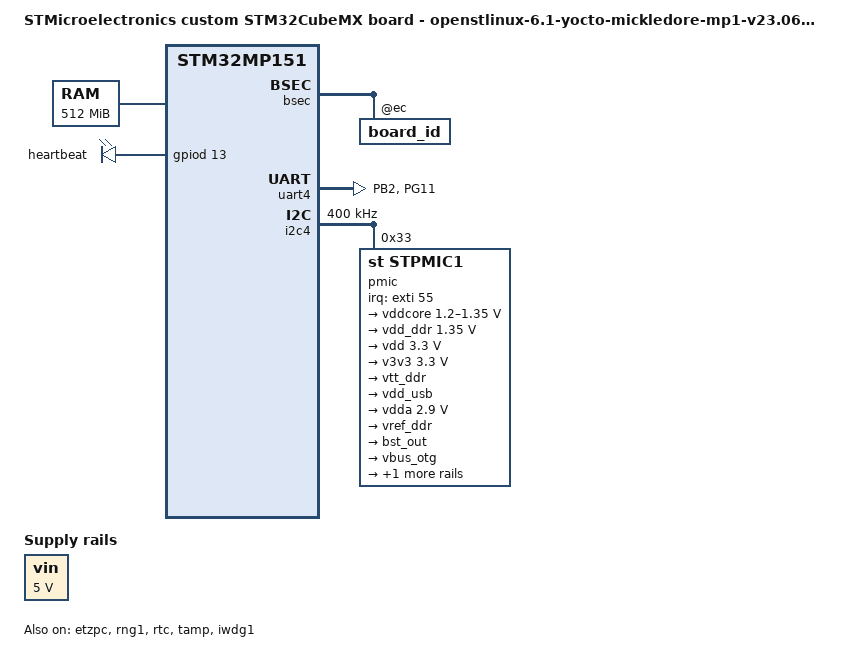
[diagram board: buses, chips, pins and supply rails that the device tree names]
// SPDX-License-Identifier: (GPL-2.0-or-later OR BSD-3-Clause)
/*
 * Copyright (C) 2023, STMicroelectronics - All Rights Reserved
 * Author: STM32CubeMX code generation for STMicroelectronics.
 */

/* For more information on Device Tree configuration, please refer to
 * https://wiki.st.com/stm32mpu/wiki/Category:Device_tree_configuration
 */

/dts-v1/;
#include <dt-bindings/pinctrl/stm32-pinfunc.h>
#include <dt-bindings/clock/stm32mp1-clksrc.h>
#include <dt-bindings/soc/stm32mp15-etzpc.h>

#include "stm32mp151.dtsi"
#include "stm32mp15xa.dtsi"
#include "stm32mp15xxac-pinctrl.dtsi"
#include <dt-bindings/mfd/st,stpmic1.h>
#include <dt-bindings/gpio/stm32mp_gpio.h>
#include <dt-bindings/power/stm32mp1-power.h>
#include <dt-bindings/interrupt-controller/arm-gic.h>

/ {
	model = "STMicroelectronics custom STM32CubeMX board - openstlinux-6.1-yocto-mickledore-mp1-v23.06.21";
	compatible = "st,stm32mp151a-tios-mx", "st,stm32mp151";

        aliases {
            serial0 = &uart4;
	};
	
	memory@c0000000 {
		device_type = "memory";
		reg = <0xc0000000 0x20000000>;
	};

	reserved-memory {
		#address-cells = <1>;
		#size-cells = <1>;
		ranges;
		
		mcuram: mcuram@30000000 {
			compatible = "shared-dma-pool";
			reg = <0x30000000 0x40000>;
			no-map;
		};
		mcuram2: mcuram2@10000000 {
			compatible = "shared-dma-pool";
			reg = <0x10000000 0x40000>;
			no-map;
		};
	};


	chosen {
		stdout-path = "serial0:115200n8";
	};

	clocks {
		clk_hsi: clk-hsi {
			clock-frequency = <64000000>;
		};
		clk_lse: clk-lse {
			clock-frequency = <32768>;
		};
		clk_hse: clk-hse {
			clock-frequency = <24000000>;
			st,digbypass;
		};
	};
	led {
		compatible = "gpio-leds";
		led-blue {
			label = "heartbeat";
			gpios = <&gpiod 13 GPIO_ACTIVE_HIGH>;
			linux,default-trigger = "heartbeat";
			default-state = "off";
		};
	};
	vin: vin {
		compatible = "regulator-fixed";
		regulator-name = "vin";
		regulator-min-microvolt = <5000000>;
		regulator-max-microvolt = <5000000>;
		regulator-always-on;
	};

}; /*root*/

/*Warning: the configuration of the secured GPIOs should be added in (addons) User Section*/
&pinctrl {
	uart4_pins_mx: uart4_mx-0 {
		pins1 {
			pinmux = <STM32_PINMUX('B', 2, AF8)>; /* UART4_RX */
			bias-disable;
		};
		pins2 {
			pinmux = <STM32_PINMUX('G', 11, AF6)>; /* UART4_TX */
			bias-disable;
			drive-push-pull;
			slew-rate = <0>;
		};
	};
};

&pinctrl_z {
	/* USER CODE BEGIN pinctrl_z */
	i2c4_pins_z_mx: i2c4_mx-0 {
		pins {
			pinmux = <STM32_PINMUX('Z', 4, AF6)>, /* I2C4_SCL */
					 <STM32_PINMUX('Z', 5, AF6)>; /* I2C4_SDA */
			bias-disable;
			drive-open-drain;
			slew-rate = <0>;
		};
	};
	i2c4_sleep_pins_z_mx: i2c4_sleep_mx-0 {
		pins {
			pinmux = <STM32_PINMUX('Z', 4, ANALOG)>, /* I2C4_SCL */
					 <STM32_PINMUX('Z', 5, ANALOG)>; /* I2C4_SDA */
		};
	};
	/* USER CODE END pinctrl_z */
};

&bsec{
	status = "okay";
	board_id: board_id@ec {
		reg = <0xec 0x4>;
		st,non-secure-otp;
	};
};

&etzpc{
	status = "okay";
	st,decprot = <

	/*DECPROT(STM32MP1_ETZPC_DMA1_ID, DECPROT_NS_RW, DECPROT_UNLOCK)
	DECPROT(STM32MP1_ETZPC_DMAMUX_ID, DECPROT_NS_RW, DECPROT_UNLOCK)*/
	DECPROT(STM32MP1_ETZPC_I2C4_ID, DECPROT_NS_RW, DECPROT_UNLOCK)
	DECPROT(STM32MP1_ETZPC_I2C6_ID, DECPROT_NS_RW, DECPROT_UNLOCK)
	DECPROT(STM32MP1_ETZPC_SDMMC3_ID, DECPROT_NS_RW, DECPROT_UNLOCK)
	DECPROT(STM32MP1_ETZPC_DLYBSD3_ID, DECPROT_NS_RW, DECPROT_UNLOCK) // SDMMC3 delay control
	DECPROT(STM32MP1_ETZPC_UART4_ID, DECPROT_NS_RW, DECPROT_UNLOCK)
	DECPROT(STM32MP1_ETZPC_OTG_ID, DECPROT_NS_RW, DECPROT_UNLOCK)
	DECPROT(STM32MP1_ETZPC_RNG1_ID, DECPROT_S_RW, DECPROT_UNLOCK) // Added rng 
	DECPROT(STM32MP1_ETZPC_HASH1_ID, DECPROT_NS_RW, DECPROT_UNLOCK)
	DECPROT(STM32MP1_ETZPC_DDRCTRL_ID, DECPROT_NS_R_S_W, DECPROT_LOCK)
	DECPROT(STM32MP1_ETZPC_DDRPHYC_ID, DECPROT_NS_R_S_W, DECPROT_LOCK)
	DECPROT(STM32MP1_ETZPC_STGENC_ID, DECPROT_S_RW, DECPROT_UNLOCK)
	DECPROT(STM32MP1_ETZPC_IWDG1_ID, DECPROT_S_RW, DECPROT_LOCK)
	>;
};
&pwr_regulators{
	system_suspend_supported_soc_modes = <
		STM32_PM_CSLEEP_RUN
		STM32_PM_CSTOP_ALLOW_LP_STOP
		STM32_PM_CSTOP_ALLOW_STANDBY_DDR_SR
	>;
	system_off_soc_mode = <STM32_PM_CSTOP_ALLOW_STANDBY_DDR_OFF>;
	vdd-supply = <&vdd>;
	vdd_3v3_usbfs-supply = <&vdd_usb>;
};
&rcc{
	status = "okay";

	st,clksrc = <
		CLK_CKPER_DISABLED
		CLK_SDMMC12_PLL3R
		CLK_STGEN_HSI
		CLK_I2C46_HSI
		CLK_SDMMC3_PLL3R
		CLK_USBO_USBPHY
		CLK_UART24_HSI
		CLK_RNG1_CSI
		CLK_MPU_PLL1P
		CLK_AXI_PLL2P
		CLK_MCU_PLL3P
		CLK_RTC_LSI
		CLK_MCO1_DISABLED
		CLK_MCO2_DISABLED
	>;
	st,clkdiv = <
		DIV(DIV_MPU, 1)
		DIV(DIV_AXI, 0)
		DIV(DIV_MCU, 0)
		DIV(DIV_APB1, 1)
		DIV(DIV_APB2, 1)
		DIV(DIV_APB3, 1)
		DIV(DIV_APB4, 1)
		DIV(DIV_APB5, 2)
		DIV(DIV_RTC, 0)
		DIV(DIV_MCO1, 0)
		DIV(DIV_MCO2, 0)
	>;
	st,pll_vco {
		pll1_vco_1300Mhz: pll1-vco-1300Mhz {
			src = < CLK_PLL12_HSE >;
			divmn = < 2 80 >;
			frac = < 0x800 >;
		};
		pll2_vco_1066Mhz: pll2-vco-1066Mhz {
			src = < CLK_PLL12_HSE >;
			divmn = < 2 65 >;
			frac = < 0x1400 >;
		};
		pll3_vco_600Mhz: pll3-vco-600Mhz {
			src = < CLK_PLL3_HSE >;
			divmn = < 1 49 >;
		};
	};

	pll1:st,pll@0 {
		compatible = "st,stm32mp1-pll";
		reg = <0>;

		st,pll = < &pll1_cfg1 >;

		pll1_cfg1: pll1_cfg1 {
			st,pll_vco = < &pll1_vco_1300Mhz >;
			st,pll_div_pqr = < 0 1 1 >;
		};
	};

	pll2:st,pll@1 {
		compatible = "st,stm32mp1-pll";
		reg = <1>;

		st,pll = < &pll2_cfg1 >;

		pll2_cfg1: pll2_cfg1 {
			st,pll_vco = < &pll2_vco_1066Mhz >;
			st,pll_div_pqr = < 1 1 0 >;
		};
	};

	pll3:st,pll@2 {
		compatible = "st,stm32mp1-pll";
		reg = <2>;

		st,pll = < &pll3_cfg1 >;

		pll3_cfg1: pll3_cfg1 {
			st,pll_vco = < &pll3_vco_600Mhz >;
			st,pll_div_pqr = < 2 1 2 >;
		};
	};

};

&rng1{
	status = "okay";
};
&crc1 {
	status = "disabled";
};
&hash1 {
	status = "disabled";
};
&dts {
	status = "disabled";
};
&rtc{
	status = "okay";
};

&tamp{
	status = "okay";
};
&ipcc {
	status = "disabled";
};

&iwdg1 {
	timeout-sec = <32>;
	status = "okay";
};
&cpu0 {
 	clock-frequency = <650000000>;
	cpu-supply = <&vddcore>;
};

&uart4 {
	pinctrl-names = "default";
	pinctrl-0 = <&uart4_pins_mx>;
	/delete-property/dmas;
	/delete-property/dma-names;
	status = "okay";
};


&i2c4{
	compatible = "st,stm32mp15-i2c-non-secure";
	pinctrl-names = "default","sleep";
	pinctrl-0 = <&i2c4_pins_z_mx>;
	pinctrl-1 = <&i2c4_sleep_pins_z_mx>;
	
	i2c-scl-rising-time-ns = <185>;
	i2c-scl-falling-time-ns = <20>;
	clock-frequency = <400000>;
	status = "okay";
	/* spare dmas for other usage */
	/delete-property/dmas;
	/delete-property/dma-names;

	pmic: stpmic@33 {
		compatible = "st,stpmic1";
		reg = <0x33>;
		interrupts-extended = <&exti 55 IRQ_TYPE_EDGE_FALLING>;
		interrupt-controller;
		#interrupt-cells = <2>;
		status = "okay";
		
		regulators {
		    compatible = "st,stpmic1-regulators";
			buck1-supply = <&vin>;
			buck2-supply = <&vin>;
			buck3-supply = <&vin>;
			buck4-supply = <&vin>;
			ldo3-supply = <&vdd_ddr>;
			ldo4-supply = <&vin>;
			ldo5-supply = <&vin>;
			boost-supply = <&vin>;
			pwr_sw1-supply = <&bst_out>;
			pwr_sw2-supply = <&bst_out>;

			vddcore: buck1 {
				regulator-name = "vddcore";
				regulator-min-microvolt = <1200000>;
				regulator-max-microvolt = <1350000>;
				regulator-always-on;
				regulator-initial-mode = <0>;
				regulator-over-current-protection;
			};

			vdd_ddr: buck2 {
				regulator-name = "vdd_ddr";
				regulator-min-microvolt = <1350000>;
				regulator-max-microvolt = <1350000>;
				regulator-always-on;
				regulator-initial-mode = <0>;
				regulator-over-current-protection;
			};

			vdd: buck3 {
				regulator-name = "vdd";
				regulator-min-microvolt = <3300000>;
				regulator-max-microvolt = <3300000>;
				regulator-always-on;
				st,mask-reset;
				regulator-initial-mode = <0>;
				regulator-over-current-protection;
			};

			v3v3: buck4 {
				regulator-name = "v3v3";
				regulator-min-microvolt = <3300000>;
				regulator-max-microvolt = <3300000>;
				regulator-always-on;
				regulator-over-current-protection;
				regulator-initial-mode = <0>;
			};

			vtt_ddr: ldo3 {
				regulator-name = "vtt_ddr";
				regulator-always-on;
				regulator-over-current-protection;
				st,regulator-sink-source;
			};
			vdd_usb: ldo4 {
				regulator-name = "vdd_usb";
				interrupts = <IT_CURLIM_LDO4 0>;
			};
			vdda: ldo5 {
				regulator-name = "vdda";
				regulator-min-microvolt = <2900000>;
				regulator-max-microvolt = <2900000>;
				interrupts = <IT_CURLIM_LDO5 0>;
				regulator-boot-on;
			};
			vref_ddr: vref_ddr {
				regulator-name = "vref_ddr";
				regulator-always-on;
			};
			bst_out: boost {
				regulator-name = "bst_out";
				interrupts = <IT_OCP_BOOST 0>;
			 };

			vbus_otg: pwr_sw1 {
				regulator-name = "vbus_otg";
				interrupts = <IT_OCP_OTG 0>;
			 };

			 vbus_sw: pwr_sw2 {
				regulator-name = "vbus_sw";
				interrupts = <IT_OCP_SWOUT 0>;
				regulator-active-discharge = <1>;
			 };	
		};
		onkey {
			compatible = "st,stpmic1-onkey";
			interrupts = <IT_PONKEY_F 0>, <IT_PONKEY_R 0>;
			interrupt-names = "onkey-falling", "onkey-rising";
			power-off-time-sec = <10>;
			status = "disabled";
		};

		watchdog {
			compatible = "st,stpmic1-wdt";
			status = "disabled";
		};
	};
};

/* Low-power states of regulators */
&v3v3 {
	lp-stop {
		regulator-suspend-microvolt = <3300000>;
		regulator-on-in-suspend;
	};
	standby-ddr-sr {
		regulator-off-in-suspend;
	};
	standby-ddr-off {
		regulator-off-in-suspend;
	};
};

&vdd {
	lp-stop {
		regulator-suspend-microvolt = <3300000>;
		regulator-on-in-suspend;
	};
	standby-ddr-sr {
		regulator-suspend-microvolt = <3300000>;
		regulator-on-in-suspend;
	};
	standby-ddr-off {
		regulator-suspend-microvolt = <3300000>;
		regulator-on-in-suspend;
	};
};
&vdda {
	standby-ddr-sr {
		regulator-off-in-suspend;
	};
	standby-ddr-off {
		regulator-off-in-suspend;
	};
};
&vddcore {
	lp-stop {
		regulator-on-in-suspend;
		regulator-suspend-microvolt = <1200000>;
	};
	standby-ddr-sr {
		regulator-off-in-suspend;
	};
	standby-ddr-off {
		regulator-off-in-suspend;
	};
};

&vdd_ddr {
	lp-stop {
		regulator-suspend-microvolt = <1350000>;
		regulator-on-in-suspend;
	};
	standby-ddr-sr {
		regulator-suspend-microvolt = <1350000>;
		regulator-on-in-suspend;
	};
	standby-ddr-off {
		regulator-off-in-suspend;
	};
};

&vdd_usb {
	standby-ddr-sr {
		regulator-off-in-suspend;
	};
	standby-ddr-off {
		regulator-off-in-suspend;
	};
};

&vref_ddr {
	lp-stop {
		regulator-on-in-suspend;
	};
	standby-ddr-sr {
		regulator-on-in-suspend;
	};
	standby-ddr-off {
		regulator-off-in-suspend;
	};
};

&vtt_ddr {
	lp-stop {
		regulator-off-in-suspend;
	};
	standby-ddr-sr {
		regulator-off-in-suspend;
	};
	standby-ddr-off {
		regulator-off-in-suspend;
	};
};
